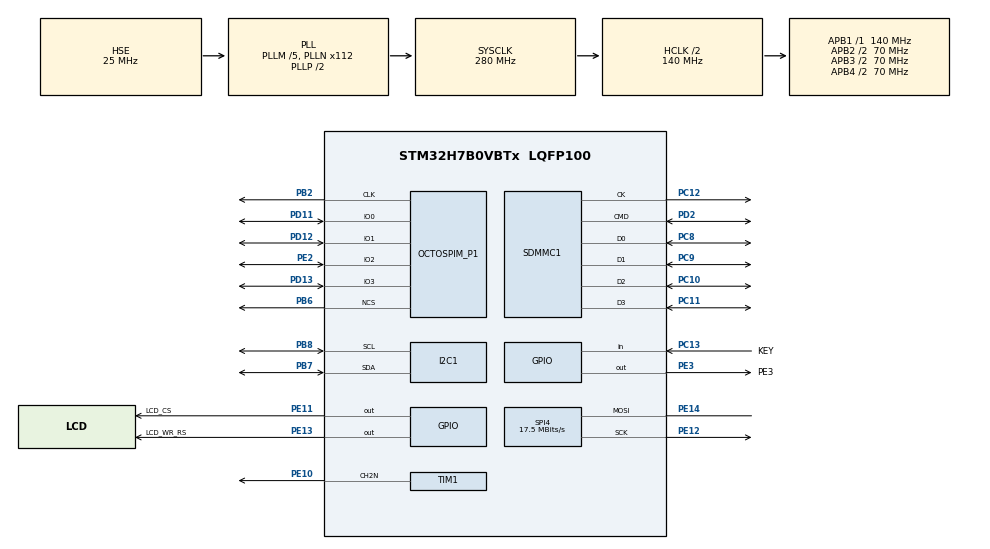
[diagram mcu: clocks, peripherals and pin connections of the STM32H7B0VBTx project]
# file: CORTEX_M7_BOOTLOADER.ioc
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CORTEX_M7.CPU_DCache=Disabled
CORTEX_M7.CPU_ICache=Disabled
CORTEX_M7.default_mode_Activation=1
FATFS._MAX_SS=4096
I2C1.Timing=0x20B0CCFF
Mcu.Family=STM32H7
Mcu.Name=STM32H7B0VBTx
Mcu.Package=LQFP100
NVIC.PriorityGroup=NVIC_PRIORITYGROUP_4
NVIC.SDMMC1_IRQn=true\:0\:0\:false\:false\:true\:true\:true\:true
OCTOSPI1.ChipSelectHighTime=2
OCTOSPI1.ClockMode=HAL_OSPI_CLOCK_MODE_3
OCTOSPI1.ClockPrescaler=3-1
OCTOSPI1.DeviceSize=23
OCTOSPI1.SampleShifting=HAL_OSPI_SAMPLE_SHIFTING_HALFCYCLE
PA13.Mode=Serial_Wire
PA13.Signal=DEBUG_JTMS-SWDIO
PA14.Mode=Serial_Wire
PA14.Signal=DEBUG_JTCK-SWCLK
PB2.Mode=O1_P1_CLK
PB2.Signal=OCTOSPIM_P1_CLK
PB6.GPIO_PuPd=GPIO_NOPULL
PB6.Mode=OCTOSPI1_Port1_NCS
PB6.Signal=OCTOSPIM_P1_NCS
PB7.Mode=I2C
PB7.Signal=I2C1_SDA
PB8.Mode=I2C
PB8.Signal=I2C1_SCL
PC10.GPIO_PuPd=GPIO_PULLUP
PC10.Mode=SD_4_bits_Wide_bus
PC10.Signal=SDMMC1_D2
PC11.GPIO_PuPd=GPIO_PULLUP
PC11.Mode=SD_4_bits_Wide_bus
PC11.Signal=SDMMC1_D3
PC12.Mode=SD_4_bits_Wide_bus
PC12.Signal=SDMMC1_CK
PC13.GPIO_Label=KEY
PC13.GPIO_PuPd=GPIO_PULLDOWN
PC13.Signal=GPIO_Input
PC14-OSC32_IN.Mode=LSE-External-Oscillator
PC14-OSC32_IN.Signal=RCC_OSC32_IN
PC15-OSC32_OUT.Mode=LSE-External-Oscillator
PC15-OSC32_OUT.Signal=RCC_OSC32_OUT
PC8.GPIO_PuPd=GPIO_PULLUP
PC8.Mode=SD_4_bits_Wide_bus
PC8.Signal=SDMMC1_D0
PC9.GPIO_PuPd=GPIO_PULLUP
PC9.Mode=SD_4_bits_Wide_bus
PC9.Signal=SDMMC1_D1
PD11.Mode=OCTOSPI1_IOL_Port1L
PD11.Signal=OCTOSPIM_P1_IO0
PD12.Mode=OCTOSPI1_IOL_Port1L
PD12.Signal=OCTOSPIM_P1_IO1
PD13.Mode=OCTOSPI1_IOL_Port1L
PD13.Signal=OCTOSPIM_P1_IO3
PD2.GPIO_PuPd=GPIO_PULLUP
PD2.Mode=SD_4_bits_Wide_bus
PD2.Signal=SDMMC1_CMD
PE10.Mode=PWM Generation2 CH2N
PE10.Signal=TIM1_CH2N
PE11.GPIO_Label=LCD_CS
PE11.Signal=GPIO_Output
PE12.Mode=Simplex_Bidirectional_Master
PE12.Signal=SPI4_SCK
PE13.GPIO_Label=LCD_WR_RS
PE13.Signal=GPIO_Output
PE14.Mode=Simplex_Bidirectional_Master
PE14.Signal=SPI4_MOSI
PE2.Mode=OCTOSPI1_IOL_Port1L
PE2.Signal=OCTOSPIM_P1_IO2
PE3.GPIO_Label=PE3
PE3.Signal=GPIO_Output
PH0-OSC_IN.Mode=HSE-External-Oscillator
PH0-OSC_IN.Signal=RCC_OSC_IN
PH1-OSC_OUT.Mode=HSE-External-Oscillator
PH1-OSC_OUT.Signal=RCC_OSC_OUT
ProjectManager.HeapSize=0x200
ProjectManager.StackSize=0x400
ProjectManager.TargetToolchain=STM32CubeIDE
RCC.ADCFreq_Value=50390625
RCC.APB1Freq_Value=140000000
RCC.APB2Freq_Value=70000000
RCC.APB3Freq_Value=70000000
RCC.APB4Freq_Value=70000000
RCC.CDPPRE=RCC_APB3_DIV2
RCC.CDPPRE2=RCC_APB2_DIV2
RCC.CortexFreq_Value=280000000
RCC.DIVM1=5
RCC.DIVM3=5
RCC.DIVN1=112
RCC.DIVN3=96
RCC.DIVQ3=10
RCC.HCLKFreq_Value=140000000
RCC.HPRE=RCC_HCLK_DIV2
RCC.HSE_VALUE=25000000
RCC.PLL2FRACN=0
RCC.PLL3FRACN=0
RCC.PLLFRACN=0
RCC.PLLSourceVirtual=RCC_PLLSOURCE_HSE
RCC.RTCClockSelection=RCC_RTCCLKSOURCE_LSE
RCC.SRDPPRE=RCC_APB4_DIV2
RCC.SYSCLKFreq_VALUE=280000000
RCC.SYSCLKSource=RCC_SYSCLKSOURCE_PLLCLK
RCC.USBCLockSelection=RCC_USBCLKSOURCE_PLL3
RCC.USBFreq_Value=48000000
SDMMC1.ClockDiv=40
SPI4.BaudRatePrescaler=SPI_BAUDRATEPRESCALER_8
SPI4.CalculateBaudRate=17.5 MBits/s
SPI4.DataSize=SPI_DATASIZE_8BIT
SPI4.Direction=SPI_DIRECTION_1LINE
SPI4.Mode=SPI_MODE_MASTER
SPI4.VirtualType=VM_MASTER
STMicroelectronics.X-CUBE-AZRTOS-H7.3.4.0_IsAnAzureRtosMw=true
TIM1.Channel-PWM\ Generation2\ CH2N=TIM_CHANNEL_2
TIM1.OCNPolarity_2=TIM_OCNPOLARITY_LOW
TIM1.Period=1000-1
TIM1.Prescaler=14-1
VP_CRC_VS_CRC.Mode=CRC_Activate
VP_FATFS_VS_SDIO.Mode=SDIO
VP_MEMORYMAP_VS_MEMORYMAP.Mode=CurAppReg
VP_OCTOSPI1_VS_octo.Mode=octo_mode
board=custom

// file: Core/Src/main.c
/* USER CODE BEGIN Header */
/**
  ******************************************************************************
  * @file           : main.c
  * @brief          : Main program body
  ******************************************************************************
  * @attention
  *
  * Copyright (c) 2026 STMicroelectronics.
  * All rights reserved.
  *
  * This software is licensed under terms that can be found in the LICENSE file
  * in the root directory of this software component.
  * If no LICENSE file comes with this software, it is provided AS-IS.
  *
  ******************************************************************************
  */
/* USER CODE END Header */
#include "main.h"
#include "fatfs.h"

/* USER CODE BEGIN Includes */
#include <string.h>
#include <stdio.h>
#include "lcd.h"
#include "DTP.h"
#include "sd.h"
#include "../QSPI/update_firmware.h"
#include "../QSPI/qspi.h"
#include "../EPROM/eprom.h"
#include "../LOG/LOG.h"
/* USER CODE END Includes */

CRC_HandleTypeDef hcrc;

I2C_HandleTypeDef hi2c1;

OSPI_HandleTypeDef hospi1;

SD_HandleTypeDef hsd1;

SPI_HandleTypeDef hspi4;

TIM_HandleTypeDef htim1;

/* USER CODE BEGIN PV */
extern uint32_t ErrorCode;
/* USER CODE END PV */

void SystemClock_Config(void);
static void MPU_Config(void);
static void MX_GPIO_Init(void);
static void MX_SPI4_Init(void);
static void MX_TIM1_Init(void);
static void MX_SDMMC1_SD_Init(void);
static void MX_OCTOSPI1_Init(void);
static void MX_CRC_Init(void);
static void MX_I2C1_Init(void);

/* USER CODE BEGIN 0 */

// ===========================================================
// ====================== ПОЛНАЯ ОЧИСТКА =====================
// ===========================================================

//#define CLEAR_QSPI_EEPROM

#ifdef CLEAR_QSPI_EEPROM
/* Очистка EEPROM, QSPI, DTCM и AXI SRAM */
static void CleanAll(void)
{
    uint8_t result;

    PROGRAMM_LOG_INFO("=== CLEAN START ===");

    // ===== 0. ОЧИСТКА DTCM и AXI SRAM (если нужна, но вроде уже не использую) =====
    /*
    // 1. Очищаем DTCM (0x20000000 - 0x20010000)
    for (uint32_t i = 0; i < 0x10000; i += 4)
    {
    	*(volatile uint32_t*)(0x20000000 + i) = 0xFFFFFFFF;
    }

    // 2. Очищаем AXI SRAM (0x24000000 - 0x24100000)
    for (uint32_t i = 0; i < 0x100000; i += 4)
    {
    	*(volatile uint32_t*)(0x24000000 + i) = 0xFFFFFFFF;
    }
    */

    // ===== 1. ОЧИЩАЕМ EEPROM =====
    PROGRAMM_LOG_INFO("Erase EEPROM...");

    uint8_t ff_page[EEPROM_PAGE_SIZE];
    memset(ff_page, 0xFF, EEPROM_PAGE_SIZE);

    for (uint16_t addr = 0; addr < EEPROM_SIZE; addr += EEPROM_PAGE_SIZE) {
        result = EEPROM_WriteBuffer(addr, ff_page, EEPROM_PAGE_SIZE);
        if (result != EEPROM_OK) {
        	PROGRAMM_LOG_ERROR("Erase fail 0x%04X", addr);
            return;
        }
    }
    PROGRAMM_LOG_OK("EEPROM done");

    // ===== 2. ОЧИЩАЕМ QSPI ПОСЕКТОРНО =====
    PROGRAMM_LOG_INFO("Erase QSPI...");

    uint32_t sector_size = QSPI_SECTOR_SIZE;
    uint32_t sectors = QSPI_FLASH_SIZE / sector_size;
    PROGRAMM_LOG_PROGRESS("Sectors: %lu", sectors);

    for (uint32_t sector = 0; sector < sectors; sector++) {
        uint32_t addr = sector * sector_size;

        if (!QSPI_EraseSector(addr)) {
        	PROGRAMM_LOG_ERROR("Erase fail %lu", sector);
            return;
        }

        if (sector % 100 == 0 || sector == sectors - 1) {
        	PROGRAMM_LOG_PROGRESS("%lu/%lu", sector + 1, sectors);
        }
    }
    PROGRAMM_LOG_OK("QSPI done");

    // ===== 3. ПРОВЕРЯЕМ EEPROM =====
    PROGRAMM_LOG_INFO("Verify EEPROM...");
    uint8_t test_ff[4] = {0};
    EEPROM_ReadBuffer(0, test_ff, 4);

    if (test_ff[0] == 0xFF && test_ff[1] == 0xFF &&
        test_ff[2] == 0xFF && test_ff[3] == 0xFF) {
    	PROGRAMM_LOG_OK("EEPROM clean OK");
    } else {
    	PROGRAMM_LOG_ERROR("EEPROM not clean: 0x%02X%02X%02X%02X",
                      test_ff[0], test_ff[1], test_ff[2], test_ff[3]);
    }

    // ===== 4. ПРОВЕРЯЕМ QSPI =====
    PROGRAMM_LOG_INFO("Verify QSPI...");
    uint32_t test_qspi = *(volatile uint32_t*)QSPI_BASE_ADDR;

    if (test_qspi == 0xFFFFFFFF) {
    	PROGRAMM_LOG_OK("QSPI clean OK");
    } else {
    	PROGRAMM_LOG_ERROR("QSPI not clean: 0x%08lX", test_qspi);
    }

    PROGRAMM_LOG_OK("=== CLEAN DONE ===");
    HAL_Delay(2000);
}
#endif
/*
1. Загрузчик стартует
   ↓
2. Инициализация: LCD, SD, QSPI, EEPROM
   ↓
3. Проверяет флаг восстановления
   Если есть → копирует B→A, стирает флаг, рестарт
   ↓
4. Проверяет наличие UPD.BIN
   Если нет → прыгает в приложение
   ↓
5. Читает футер из UPD.BIN
   ↓
6. Проверяет MAGIC → если нет → STOP
   ↓
7. Сравнивает версии → если не выше → STOP
   ↓
8. Считает CRC → если не совпадает → STOP
   ↓
9. Делает бэкап A→B
   ↓
10. Стирает раздел A
   ↓
11. Пишет новую прошивку в A
   ↓
12. Обновляет версию в EEPROM
   ↓
13. Удаляет UPD.BIN
   ↓
14. Перезагружается
   ↓
15. Прыгает в приложение
*/

/*
 * ПОСЛЕДОВАТЕЛЬНОСТЬ
// 1. Инициализация OCTOSPI
MX_OCTOSPI1_Init();

// 2. Indirect операции (QSPI_Init, Read, Write, Erase)
QSPI_Init();
QSPI_Write(...);

// 3. Memory-Mapped
QSPI_EnableMemoryMapped();  // READ → WRITE → HAL_OSPI_MemoryMapped

// 4. Чтение как память
uint8_t *data = (uint8_t*)0x90000000;
*/

/* USER CODE END 0 */

int main(void)
{

  /* MPU Configuration--------------------------------------------------------*/
  MPU_Config();

  /* MCU Configuration--------------------------------------------------------*/

  /* Reset of all peripherals, Initializes the Flash interface and the Systick. */
  HAL_Init();

  /* USER CODE BEGIN Init */
  SCB_EnableICache();
  SCB_EnableDCache();
  /* USER CODE END Init */

  /* Configure the system clock */
  SystemClock_Config();

  /* Initialize all configured peripherals */
  MX_GPIO_Init();
  MX_SPI4_Init();
  MX_TIM1_Init();
  MX_SDMMC1_SD_Init();
  MX_OCTOSPI1_Init();
  MX_FATFS_Init();
  MX_CRC_Init();
  MX_I2C1_Init();
  /* USER CODE BEGIN 2 */
    LCD_Test();
    SD_Init();
    QSPI_Init();

    if (EEPROM_Init() != EEPROM_OK)
    {
    	PROGRAMM_LOG_ERROR("EEPROM error!");
    	ErrorCode = 15;
    	Error_Handler();
    }
    PROGRAMM_LOG_OK("EEPROM OK");

#ifdef CLEAR_QSPI_EEPROM
    CleanAll();

#else

    if (Update_CheckAndStart())
    {
    	ErrorCode = 21;
    	Error_Handler();
    }

    QSPI_EnableMemoryMapped();

    // Адрес 0x90000000 - начало QSPI памяти
    JumpToApplication();

    // Ну и какого хуя мы тут????????????????
    while(1)
    {
    	ErrorCode = 16;
    	Error_Handler();
    }
#endif
  /* USER CODE END 2 */

  /* Infinite loop */
  while (1)
  {

  }
}

void SystemClock_Config(void)
{
  RCC_OscInitTypeDef RCC_OscInitStruct = {0};
  RCC_ClkInitTypeDef RCC_ClkInitStruct = {0};

  /*AXI clock gating */
  RCC->CKGAENR = 0xE003FFFF;

  /** Supply configuration update enable
  */
  HAL_PWREx_ConfigSupply(PWR_LDO_SUPPLY);

  /** Configure the main internal regulator output voltage
  */
  __HAL_PWR_VOLTAGESCALING_CONFIG(PWR_REGULATOR_VOLTAGE_SCALE0);

  while(!__HAL_PWR_GET_FLAG(PWR_FLAG_VOSRDY)) {}

  /** Initializes the RCC Oscillators according to the specified parameters
  * in the RCC_OscInitTypeDef structure.
  */
  RCC_OscInitStruct.OscillatorType = RCC_OSCILLATORTYPE_HSE;
  RCC_OscInitStruct.HSEState = RCC_HSE_ON;
  RCC_OscInitStruct.PLL.PLLState = RCC_PLL_ON;
  RCC_OscInitStruct.PLL.PLLSource = RCC_PLLSOURCE_HSE;
  RCC_OscInitStruct.PLL.PLLM = 5;
  RCC_OscInitStruct.PLL.PLLN = 112;
  RCC_OscInitStruct.PLL.PLLP = 2;
  RCC_OscInitStruct.PLL.PLLQ = 2;
  RCC_OscInitStruct.PLL.PLLR = 2;
  RCC_OscInitStruct.PLL.PLLRGE = RCC_PLL1VCIRANGE_2;
  RCC_OscInitStruct.PLL.PLLVCOSEL = RCC_PLL1VCOWIDE;
  RCC_OscInitStruct.PLL.PLLFRACN = 0;
  if (HAL_RCC_OscConfig(&RCC_OscInitStruct) != HAL_OK)
  {
	  ErrorCode = 1;
    Error_Handler();
  }

  /** Initializes the CPU, AHB and APB buses clocks
  */
  RCC_ClkInitStruct.ClockType = RCC_CLOCKTYPE_HCLK|RCC_CLOCKTYPE_SYSCLK
                              |RCC_CLOCKTYPE_PCLK1|RCC_CLOCKTYPE_PCLK2
                              |RCC_CLOCKTYPE_D3PCLK1|RCC_CLOCKTYPE_D1PCLK1;
  RCC_ClkInitStruct.SYSCLKSource = RCC_SYSCLKSOURCE_PLLCLK;
  RCC_ClkInitStruct.SYSCLKDivider = RCC_SYSCLK_DIV1;
  RCC_ClkInitStruct.AHBCLKDivider = RCC_HCLK_DIV2;
  RCC_ClkInitStruct.APB3CLKDivider = RCC_APB3_DIV2;
  RCC_ClkInitStruct.APB1CLKDivider = RCC_APB1_DIV1;
  RCC_ClkInitStruct.APB2CLKDivider = RCC_APB2_DIV2;
  RCC_ClkInitStruct.APB4CLKDivider = RCC_APB4_DIV2;

  if (HAL_RCC_ClockConfig(&RCC_ClkInitStruct, FLASH_LATENCY_3) != HAL_OK)
  {
	  ErrorCode = 2;
    Error_Handler();
  }
}

static void MX_CRC_Init(void)
{

  hcrc.Instance = CRC;
  hcrc.Init.DefaultPolynomialUse = DEFAULT_POLYNOMIAL_ENABLE;
  hcrc.Init.DefaultInitValueUse = DEFAULT_INIT_VALUE_ENABLE;
  hcrc.Init.InputDataInversionMode = CRC_INPUTDATA_INVERSION_NONE;
  hcrc.Init.OutputDataInversionMode = CRC_OUTPUTDATA_INVERSION_DISABLE;
  hcrc.InputDataFormat = CRC_INPUTDATA_FORMAT_BYTES;
  if (HAL_CRC_Init(&hcrc) != HAL_OK)
  {
	  ErrorCode = 3;
    Error_Handler();
  }

}

static void MX_I2C1_Init(void)
{

  hi2c1.Instance = I2C1;
  hi2c1.Init.Timing = 0x20B0CCFF;
  hi2c1.Init.OwnAddress1 = 0;
  hi2c1.Init.AddressingMode = I2C_ADDRESSINGMODE_7BIT;
  hi2c1.Init.DualAddressMode = I2C_DUALADDRESS_DISABLE;
  hi2c1.Init.OwnAddress2 = 0;
  hi2c1.Init.OwnAddress2Masks = I2C_OA2_NOMASK;
  hi2c1.Init.GeneralCallMode = I2C_GENERALCALL_DISABLE;
  hi2c1.Init.NoStretchMode = I2C_NOSTRETCH_DISABLE;
  if (HAL_I2C_Init(&hi2c1) != HAL_OK)
  {
	  ErrorCode = 4;
    Error_Handler();
  }

  /** Configure Analogue filter
  */
  if (HAL_I2CEx_ConfigAnalogFilter(&hi2c1, I2C_ANALOGFILTER_ENABLE) != HAL_OK)
  {
	  ErrorCode = 5;
    Error_Handler();
  }

  /** Configure Digital filter
  */
  if (HAL_I2CEx_ConfigDigitalFilter(&hi2c1, 0) != HAL_OK)
  {
	  ErrorCode = 6;
    Error_Handler();
  }

}

static void MX_OCTOSPI1_Init(void)
{

  /* USER CODE BEGIN OCTOSPI1_Init 0 */
	// Полный сброс OCTOSPI перед инициализацией
	__HAL_RCC_OSPI1_CLK_DISABLE();
	HAL_Delay(10);
	__HAL_RCC_OSPI1_CLK_ENABLE();
	HAL_Delay(10);
  /* USER CODE END OCTOSPI1_Init 0 */

  OSPIM_CfgTypeDef sOspiManagerCfg = {0};

  /* OCTOSPI1 parameter configuration*/
  hospi1.Instance = OCTOSPI1;
  hospi1.Init.FifoThreshold = 1;
  hospi1.Init.DualQuad = HAL_OSPI_DUALQUAD_DISABLE;
  hospi1.Init.MemoryType = HAL_OSPI_MEMTYPE_MICRON;
  hospi1.Init.DeviceSize = 23;
  hospi1.Init.ChipSelectHighTime = 2;
  hospi1.Init.FreeRunningClock = HAL_OSPI_FREERUNCLK_DISABLE;
  hospi1.Init.ClockMode = HAL_OSPI_CLOCK_MODE_3;
  hospi1.Init.WrapSize = HAL_OSPI_WRAP_NOT_SUPPORTED;
  hospi1.Init.ClockPrescaler = 3-1;
  hospi1.Init.SampleShifting = HAL_OSPI_SAMPLE_SHIFTING_HALFCYCLE;
  hospi1.Init.DelayHoldQuarterCycle = HAL_OSPI_DHQC_DISABLE;
  hospi1.Init.ChipSelectBoundary = 0;
  hospi1.Init.DelayBlockBypass = HAL_OSPI_DELAY_BLOCK_BYPASSED;
  hospi1.Init.MaxTran = 0;
  hospi1.Init.Refresh = 0;
  if (HAL_OSPI_Init(&hospi1) != HAL_OK)
  {
	  ErrorCode = 7;
    Error_Handler();
  }
  sOspiManagerCfg.ClkPort = 1;
  sOspiManagerCfg.NCSPort = 1;
  sOspiManagerCfg.IOLowPort = HAL_OSPIM_IOPORT_1_LOW;
  if (HAL_OSPIM_Config(&hospi1, &sOspiManagerCfg, HAL_OSPI_TIMEOUT_DEFAULT_VALUE) != HAL_OK)
  {
	  ErrorCode = 8;
    Error_Handler();
  }

}

static void MX_SDMMC1_SD_Init(void)
{

  hsd1.Instance = SDMMC1;
  hsd1.Init.ClockEdge = SDMMC_CLOCK_EDGE_RISING;
  hsd1.Init.ClockPowerSave = SDMMC_CLOCK_POWER_SAVE_DISABLE;
  hsd1.Init.BusWide = SDMMC_BUS_WIDE_4B;
  hsd1.Init.HardwareFlowControl = SDMMC_HARDWARE_FLOW_CONTROL_DISABLE;
  hsd1.Init.ClockDiv = 40;
  if (HAL_SD_Init(&hsd1) != HAL_OK)
  {
	  ErrorCode = 9;
    //Error_Handler();
  }

}

static void MX_SPI4_Init(void)
{

  /* SPI4 parameter configuration*/
  hspi4.Instance = SPI4;
  hspi4.Init.Mode = SPI_MODE_MASTER;
  hspi4.Init.Direction = SPI_DIRECTION_1LINE;
  hspi4.Init.DataSize = SPI_DATASIZE_8BIT;
  hspi4.Init.CLKPolarity = SPI_POLARITY_LOW;
  hspi4.Init.CLKPhase = SPI_PHASE_1EDGE;
  hspi4.Init.NSS = SPI_NSS_SOFT;
  hspi4.Init.BaudRatePrescaler = SPI_BAUDRATEPRESCALER_8;
  hspi4.Init.FirstBit = SPI_FIRSTBIT_MSB;
  hspi4.Init.TIMode = SPI_TIMODE_DISABLE;
  hspi4.Init.CRCCalculation = SPI_CRCCALCULATION_DISABLE;
  hspi4.Init.CRCPolynomial = 0x0;
  hspi4.Init.NSSPMode = SPI_NSS_PULSE_ENABLE;
  hspi4.Init.NSSPolarity = SPI_NSS_POLARITY_LOW;
  hspi4.Init.FifoThreshold = SPI_FIFO_THRESHOLD_01DATA;
  hspi4.Init.TxCRCInitializationPattern = SPI_CRC_INITIALIZATION_ALL_ZERO_PATTERN;
  hspi4.Init.RxCRCInitializationPattern = SPI_CRC_INITIALIZATION_ALL_ZERO_PATTERN;
  hspi4.Init.MasterSSIdleness = SPI_MASTER_SS_IDLENESS_00CYCLE;
  hspi4.Init.MasterInterDataIdleness = SPI_MASTER_INTERDATA_IDLENESS_00CYCLE;
  hspi4.Init.MasterReceiverAutoSusp = SPI_MASTER_RX_AUTOSUSP_DISABLE;
  hspi4.Init.MasterKeepIOState = SPI_MASTER_KEEP_IO_STATE_DISABLE;
  hspi4.Init.IOSwap = SPI_IO_SWAP_DISABLE;
  if (HAL_SPI_Init(&hspi4) != HAL_OK)
  {
	  ErrorCode = 10;
    Error_Handler();
  }

}

static void MX_TIM1_Init(void)
{

  TIM_MasterConfigTypeDef sMasterConfig = {0};
  TIM_OC_InitTypeDef sConfigOC = {0};
  TIM_BreakDeadTimeConfigTypeDef sBreakDeadTimeConfig = {0};

  htim1.Instance = TIM1;
  htim1.Init.Prescaler = 14-1;
  htim1.Init.CounterMode = TIM_COUNTERMODE_UP;
  htim1.Init.Period = 1000-1;
  htim1.Init.ClockDivision = TIM_CLOCKDIVISION_DIV1;
  htim1.Init.RepetitionCounter = 0;
  htim1.Init.AutoReloadPreload = TIM_AUTORELOAD_PRELOAD_DISABLE;
  if (HAL_TIM_PWM_Init(&htim1) != HAL_OK)
  {
	  ErrorCode = 11;
    Error_Handler();
  }
  sMasterConfig.MasterOutputTrigger = TIM_TRGO_RESET;
  sMasterConfig.MasterOutputTrigger2 = TIM_TRGO2_RESET;
  sMasterConfig.MasterSlaveMode = TIM_MASTERSLAVEMODE_DISABLE;
  if (HAL_TIMEx_MasterConfigSynchronization(&htim1, &sMasterConfig) != HAL_OK)
  {
	  ErrorCode = 12;
    Error_Handler();
  }
  sConfigOC.OCMode = TIM_OCMODE_PWM1;
  sConfigOC.Pulse = 0;
  sConfigOC.OCPolarity = TIM_OCPOLARITY_HIGH;
  sConfigOC.OCNPolarity = TIM_OCNPOLARITY_LOW;
  sConfigOC.OCFastMode = TIM_OCFAST_DISABLE;
  sConfigOC.OCIdleState = TIM_OCIDLESTATE_RESET;
  sConfigOC.OCNIdleState = TIM_OCNIDLESTATE_RESET;
  if (HAL_TIM_PWM_ConfigChannel(&htim1, &sConfigOC, TIM_CHANNEL_2) != HAL_OK)
  {
	  ErrorCode = 13;
    Error_Handler();
  }
  sBreakDeadTimeConfig.OffStateRunMode = TIM_OSSR_DISABLE;
  sBreakDeadTimeConfig.OffStateIDLEMode = TIM_OSSI_DISABLE;
  sBreakDeadTimeConfig.LockLevel = TIM_LOCKLEVEL_OFF;
  sBreakDeadTimeConfig.DeadTime = 0;
  sBreakDeadTimeConfig.BreakState = TIM_BREAK_DISABLE;
  sBreakDeadTimeConfig.BreakPolarity = TIM_BREAKPOLARITY_HIGH;
  sBreakDeadTimeConfig.BreakFilter = 0;
  sBreakDeadTimeConfig.Break2State = TIM_BREAK2_DISABLE;
  sBreakDeadTimeConfig.Break2Polarity = TIM_BREAK2POLARITY_HIGH;
  sBreakDeadTimeConfig.Break2Filter = 0;
  sBreakDeadTimeConfig.AutomaticOutput = TIM_AUTOMATICOUTPUT_DISABLE;
  if (HAL_TIMEx_ConfigBreakDeadTime(&htim1, &sBreakDeadTimeConfig) != HAL_OK)
  {
	  ErrorCode = 14;
    Error_Handler();
  }
  HAL_TIM_MspPostInit(&htim1);

}

static void MX_GPIO_Init(void)
{
  GPIO_InitTypeDef GPIO_InitStruct = {0};

  /* GPIO Ports Clock Enable */
  __HAL_RCC_GPIOE_CLK_ENABLE();
  __HAL_RCC_GPIOC_CLK_ENABLE();
  __HAL_RCC_GPIOH_CLK_ENABLE();
  __HAL_RCC_GPIOB_CLK_ENABLE();
  __HAL_RCC_GPIOD_CLK_ENABLE();
  __HAL_RCC_GPIOA_CLK_ENABLE();

  /*Configure GPIO pin Output Level */
  HAL_GPIO_WritePin(GPIOE, PE3_Pin|LCD_CS_Pin|LCD_WR_RS_Pin, GPIO_PIN_RESET);

  /*Configure GPIO pins : PE3_Pin LCD_CS_Pin LCD_WR_RS_Pin */
  GPIO_InitStruct.Pin = PE3_Pin|LCD_CS_Pin|LCD_WR_RS_Pin;
  GPIO_InitStruct.Mode = GPIO_MODE_OUTPUT_PP;
  GPIO_InitStruct.Pull = GPIO_NOPULL;
  GPIO_InitStruct.Speed = GPIO_SPEED_FREQ_LOW;
  HAL_GPIO_Init(GPIOE, &GPIO_InitStruct);

  /*Configure GPIO pin : KEY_Pin */
  GPIO_InitStruct.Pin = KEY_Pin;
  GPIO_InitStruct.Mode = GPIO_MODE_INPUT;
  GPIO_InitStruct.Pull = GPIO_PULLDOWN;
  HAL_GPIO_Init(KEY_GPIO_Port, &GPIO_InitStruct);

}

/* USER CODE BEGIN 4 */

void MPU_Config(void)
{
    MPU_Region_InitTypeDef MPU_InitStruct = {0};

    HAL_MPU_Disable();

    // ===== РЕГИОН 0: Запрет доступа к несуществующей памяти =====
    MPU_InitStruct.Enable = MPU_REGION_ENABLE;
    MPU_InitStruct.Number = MPU_REGION_NUMBER0;
    MPU_InitStruct.BaseAddress = 0x0;
    MPU_InitStruct.Size = MPU_REGION_SIZE_4GB;
    MPU_InitStruct.SubRegionDisable = 0x87;
    MPU_InitStruct.TypeExtField = MPU_TEX_LEVEL0;
    MPU_InitStruct.AccessPermission = MPU_REGION_NO_ACCESS;
    MPU_InitStruct.DisableExec = MPU_INSTRUCTION_ACCESS_DISABLE;
    MPU_InitStruct.IsShareable = MPU_ACCESS_SHAREABLE;
    MPU_InitStruct.IsCacheable = MPU_ACCESS_NOT_CACHEABLE;
    MPU_InitStruct.IsBufferable = MPU_ACCESS_NOT_BUFFERABLE;
    HAL_MPU_ConfigRegion(&MPU_InitStruct);

    // ===== РЕГИОН 1: SRAM (с кэшем) =====
    MPU_InitStruct.Enable = MPU_REGION_ENABLE;
    MPU_InitStruct.Number = MPU_REGION_NUMBER1;
    MPU_InitStruct.BaseAddress = 0x24000000;
    MPU_InitStruct.Size = MPU_REGION_SIZE_512KB;
    MPU_InitStruct.SubRegionDisable = 0x0;
    MPU_InitStruct.TypeExtField = MPU_TEX_LEVEL0;
    MPU_InitStruct.AccessPermission = MPU_REGION_FULL_ACCESS;
    MPU_InitStruct.DisableExec = MPU_INSTRUCTION_ACCESS_ENABLE;
    MPU_InitStruct.IsShareable = MPU_ACCESS_SHAREABLE;
    MPU_InitStruct.IsCacheable = MPU_ACCESS_CACHEABLE;
    MPU_InitStruct.IsBufferable = MPU_ACCESS_BUFFERABLE;
    HAL_MPU_ConfigRegion(&MPU_InitStruct);

    // ===== РЕГИОН 2: DTCM (БЕЗ кэша!) =====
    MPU_InitStruct.Enable = MPU_REGION_ENABLE;
    MPU_InitStruct.Number = MPU_REGION_NUMBER2;
    MPU_InitStruct.BaseAddress = 0x20000000;
    MPU_InitStruct.Size = MPU_REGION_SIZE_128KB;
    MPU_InitStruct.SubRegionDisable = 0x0;
    MPU_InitStruct.TypeExtField = MPU_TEX_LEVEL1;
    MPU_InitStruct.AccessPermission = MPU_REGION_FULL_ACCESS;
    MPU_InitStruct.DisableExec = MPU_INSTRUCTION_ACCESS_ENABLE;
    MPU_InitStruct.IsShareable = MPU_ACCESS_SHAREABLE;
    MPU_InitStruct.IsCacheable = MPU_ACCESS_NOT_CACHEABLE;
    MPU_InitStruct.IsBufferable = MPU_ACCESS_BUFFERABLE;
    HAL_MPU_ConfigRegion(&MPU_InitStruct);

    // ===== РЕГИОН 3: SDMMC регистры (Device memory) =====
    MPU_InitStruct.Enable = MPU_REGION_ENABLE;
    MPU_InitStruct.Number = MPU_REGION_NUMBER3;
    MPU_InitStruct.BaseAddress = 0x52000000;
    MPU_InitStruct.Size = MPU_REGION_SIZE_4KB;
    MPU_InitStruct.SubRegionDisable = 0x0;
    MPU_InitStruct.TypeExtField = MPU_TEX_LEVEL1;
    MPU_InitStruct.AccessPermission = MPU_REGION_FULL_ACCESS;
    MPU_InitStruct.DisableExec = MPU_INSTRUCTION_ACCESS_DISABLE;
    MPU_InitStruct.IsShareable = MPU_ACCESS_SHAREABLE;
    MPU_InitStruct.IsCacheable = MPU_ACCESS_NOT_CACHEABLE;
    MPU_InitStruct.IsBufferable = MPU_ACCESS_BUFFERABLE;
    HAL_MPU_ConfigRegion(&MPU_InitStruct);

    // ===== РЕГИОН 4: QSPI Flash (С КЭШЕМ СУКА!!!!!!!!!!!!!!!!!!!!!!!) =====
    MPU_InitStruct.Enable = MPU_REGION_ENABLE;
    MPU_InitStruct.Number = MPU_REGION_NUMBER4;
    MPU_InitStruct.BaseAddress = 0x90000000;
    MPU_InitStruct.Size = MPU_REGION_SIZE_8MB;
    MPU_InitStruct.SubRegionDisable = 0x0;
    MPU_InitStruct.TypeExtField = MPU_TEX_LEVEL0;
    MPU_InitStruct.AccessPermission = MPU_REGION_FULL_ACCESS;
    MPU_InitStruct.DisableExec = MPU_INSTRUCTION_ACCESS_ENABLE;
    MPU_InitStruct.IsShareable = MPU_ACCESS_NOT_SHAREABLE;
    MPU_InitStruct.IsCacheable = MPU_ACCESS_CACHEABLE;
    MPU_InitStruct.IsBufferable = MPU_ACCESS_BUFFERABLE;
    HAL_MPU_ConfigRegion(&MPU_InitStruct);

    HAL_MPU_Enable(MPU_PRIVILEGED_DEFAULT);
}

/* USER CODE END 4 */

 /* MPU Configuration */

void Error_Handler(void)
{
  /* USER CODE BEGIN Error_Handler_Debug */

	PROGRAMM_LOG_ERROR("=================");
	PROGRAMM_LOG_ERROR("== FATAL ERROR ==");
	PROGRAMM_LOG_ERROR("=================");

	PROGRAMM_LOG_ERROR("Error code: %lu", ErrorCode);

	if (SD_IsInitialized() && SD_IsDetected())
	{
	    if (!SD_Directory_Exists("LOG"))
	    {
	    	SD_Create_Directory("LOG");
	    }
	    if (!SD_File_Exists("LOG/LOG.TXT"))
	    {
	        SD_Open_File("LOG/LOG.TXT", SD_MODE_WRITE);
	        SD_Close_File();
	    }
	    if (SD_Open_File("LOG/LOG.TXT", SD_MODE_APPEND))
	    {
	        char log_buffer[64];
	        snprintf(log_buffer, sizeof(log_buffer), "Error code: %lu\r\n", ErrorCode);
	        SD_Write_String_To_File(log_buffer);
	        SD_Close_File();
	    }
	}

	PROGRAMM_LOG_ERROR("Reboot in 3s...");

	HAL_Delay(3000);

	ErrorCode = 0;

  /* User can add his own implementation to report the HAL error return state */
  __disable_irq();

  NVIC_SystemReset();

  while (1)
  {

  }
  /* USER CODE END Error_Handler_Debug */
}
